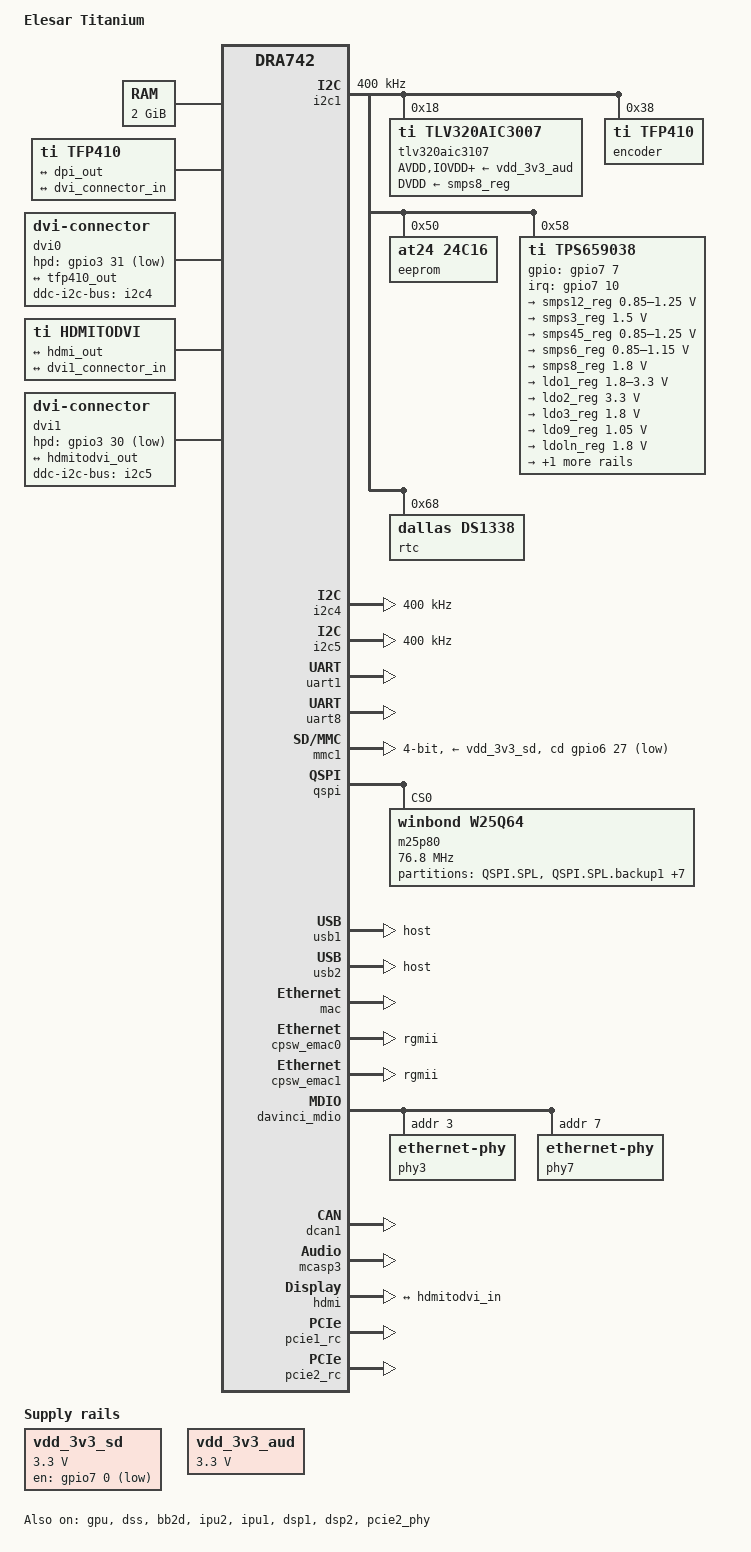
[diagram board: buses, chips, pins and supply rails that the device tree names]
/*
 * Copyright (C) 2015 Elesar Ltd. - http://www.elesar.co.uk/
 *
 * This program is free software; you can redistribute it and/or modify
 * it under the terms of the GNU General Public License version 2 as
 * published by the Free Software Foundation.
 */
/dts-v1/;

#include "dra74x.dtsi"
#include "dra74x-mmc-iodelay.dtsi"
#include "dra74-ipu-dsp-common.dtsi"

#include <dt-bindings/gpio/gpio.h>
#include <dt-bindings/interrupt-controller/irq.h>

/ {
	model = "Elesar Titanium";
	compatible = "elesar,titanium", "ti,am5728", "ti,dra742", "ti,dra74", "ti,dra7";

	aliases {
		display0 = &dvi0;
		display1 = &dvi1;
		sound0 = &sound0;
		sound1 = &hdmi;
	};

	memory@0 {
		device_type = "memory";
		reg = <0x0 0x80000000 0x0 0x80000000>; /* 2048 MB */
	};

	reserved-memory {
		#address-cells = <2>;
		#size-cells = <2>;
		ranges;

		ipu2_memory_region: ipu2-memory@95800000 {
			compatible = "shared-dma-pool";
			reg = <0x0 0x95800000 0x0 0x3800000>;
			reusable;
			status = "okay";
		};

		dsp1_memory_region: dsp1-memory@99000000 {
			compatible = "shared-dma-pool";
			reg = <0x0 0x99000000 0x0 0x4000000>;
			reusable;
			status = "okay";
		};

		ipu1_memory_region: ipu1-memory@9d000000 {
			compatible = "shared-dma-pool";
			reg = <0x0 0x9d000000 0x0 0x2000000>;
			reusable;
			status = "okay";
		};

		dsp2_memory_region: dsp2-memory@9f000000 {
			compatible = "shared-dma-pool";
			reg = <0x0 0x9f000000 0x0 0x800000>;
			reusable;
			status = "okay";
		};
	};

	ocp {
		axi@1 {
			status = "okay";
		};
	};

	vdd_3v3_sd: fixedregulator-sd {
		compatible = "regulator-fixed";
		regulator-name = "vdd_3v3_sd";
		regulator-min-microvolt = <3300000>;
		regulator-max-microvolt = <3300000>;
		gpio = <&gpio7 0 GPIO_ACTIVE_LOW>;
	};

	vdd_3v3_aud: fixedregulator-sd {
		compatible = "regulator-fixed";
		regulator-name = "vdd_3v3_aud";
		regulator-min-microvolt = <3300000>;
		regulator-max-microvolt = <3300000>;
	};

	tfp410: encoder@0 {
		compatible = "ti,tfp410";

		ports {
			#address-cells = <1>;
			#size-cells = <0>;

			port@0 {
				reg = <0>;

				tfp410_in: endpoint@0 {
					remote-endpoint = <&dpi_out>;
				};
			};

			port@1 {
				reg = <1>;

				tfp410_out: endpoint@0 {
					remote-endpoint = <&dvi_connector_in>;
				};
			};
		};
	};

	dvi0: connector@0 {
		compatible = "dvi-connector";
		label = "dvi0";

		digital;

		ddc-i2c-bus = <&i2c4>;
		hpd-gpios = <&gpio3 31 GPIO_ACTIVE_LOW>;

		port {
			dvi_connector_in: endpoint {
				remote-endpoint = <&tfp410_out>;
			};
		};
	};

	hdmitodvi: encoder@1 {
		compatible = "ti,hdmitodvi";

		ports {
			#address-cells = <1>;
			#size-cells = <0>;

			port@0 {
				reg = <0>;

				hdmitodvi_in: endpoint@0 {
					remote-endpoint = <&hdmi_out>;
				};
			};

			port@1 {
				reg = <1>;

				hdmitodvi_out: endpoint@0 {
					remote-endpoint = <&dvi1_connector_in>;
				};
			};
		};
	};

	dvi1: connector@1 {
		compatible = "dvi-connector";
		label = "dvi1";

		digital;

		ddc-i2c-bus = <&i2c5>;
		hpd-gpios = <&gpio3 30 GPIO_ACTIVE_LOW>;

		port {
			dvi1_connector_in: endpoint {
				remote-endpoint = <&hdmitodvi_out>;
			};
		};
	};

	sound0: sound0 {
		compatible = "simple-audio-card";
		simple-audio-card,name = "Titanium";
		simple-audio-card,widgets =
			"Headphone", "Headphone Jack",
			"Speaker", "Speaker",
			"Microphone", "Mic Jack",
			"Line", "Line In",
			"Line", "Aux In";
		simple-audio-card,routing =
			"Headphone Jack",	"HPLOUT",
			"Headphone Jack",	"HPROUT",
			"Speaker",		"SPOP",
			"Speaker",		"SPOM",
			"SPOP",			"LLOUT",
			"SPOM",			"RLOUT",
			"MIC3L",		"Mic Jack",
			"MIC3R",		"Mic Jack",
			"Mic Jack",		"Mic Bias",
			"LINE2L",		"Line In",
			"LINE2R",		"Line In",
			"LINE1L",		"Aux In",
			"LINE1R",		"Aux In";
		simple-audio-card,format = "dsp_b";
		simple-audio-card,bitclock-master = <&sound0_master>;
		simple-audio-card,frame-master = <&sound0_master>;
		simple-audio-card,bitclock-inversion;

		simple-audio-card,cpu {
			sound-dai = <&mcasp3>;
			clocks = <&mcasp3_aux_gfclk_mux>;
			system-clock-direction-out;
		};

		sound0_master: simple-audio-card,codec {
			sound-dai = <&tlv320aic3107>;
			clocks = <&mcasp3_aux_gfclk_mux>;
		};
	};
};

&dra7_pmx_core {
	dcan1_pins_default: dcan1_pins_default {
		pinctrl-single,pins = <
			DRA7XX_CORE_IOPAD(0x37d0, MUX_MODE0 | PIN_OUTPUT_PULLUP)	/* dcan1_tx.dcan1_tx (DCAN1_TX) */
			DRA7XX_CORE_IOPAD(0x37d4, MUX_MODE0 | PULL_UP)			/* dcan1_rx.dcan1_rx (DCAN1_RX) */
		>;
	};

	dcan1_pins_sleep: dcan1_pins_sleep {
		pinctrl-single,pins = <
			DRA7XX_CORE_IOPAD(0x37d0, MUX_MODE15 | PULL_UP)	/* dcan1_tx.off (DCAN1_TX) */
			DRA7XX_CORE_IOPAD(0x37d4, MUX_MODE15 | PULL_UP)	/* dcan1_rx.off (DCAN1_RX) */
		>;
	};
};

&i2c1 {
	status = "okay";
	clock-frequency = <400000>;

	tlv320aic3107: codec@18 {
		#sound-dai-cells = <0>;
		compatible = "ti,tlv320aic3007";
		reg = <0x18>;
		status = "okay";

		adc-settle-ms = <40>;
		ai3x-micbias-vg = <1>;	/* 2.0V */

		/* Regulators */
		AVDD-supply = <&vdd_3v3_aud>;
		IOVDD-supply = <&vdd_3v3_aud>;
		DRVDD-supply = <&vdd_3v3_aud>;
		DVDD-supply = <&smps8_reg>;
	};

	encoder@38 {
		compatible = "ti,tfp410";
		reg = <0x38>;
	};

	eeprom@50 {
		compatible = "at24,24c16";
		reg = <0x50>;
		pagesize = <16>;
	};

	tps659038: tps659038@58 {
		compatible = "ti,tps659038", "elesar,softoff";
		reg = <0x58>;
		ti,palmas-override-powerhold;
		ti,system-power-controller;

		/*
		 * The interrupt line is connected to gpio7_10, but interrupts
		 * are not used.
		 */
		interrupt-parent = <&gpio7>;
		interrupts = <10 IRQ_TYPE_NONE>;

		/* Soft power-off line */
		gpios = <&gpio7 7 GPIO_ACTIVE_HIGH>;

		tps659038_pmic {
			compatible = "ti,tps659038-pmic";

			regulators {
				smps12_reg: smps12 {
					/* VDD_MPU */
					regulator-name = "smps12";
					regulator-min-microvolt = < 850000>;
					regulator-max-microvolt = <1250000>;
					regulator-always-on;
					regulator-boot-on;
				};

				smps3_reg: smps3 {
					/* VDD_DDR */
					regulator-name = "smps3";
					regulator-min-microvolt = <1500000>;
					regulator-max-microvolt = <1500000>;
					regulator-always-on;
					regulator-boot-on;
				};

				smps45_reg: smps45 {
					/* VDD_DSPEVE, VDD_GPU, VDD_IVA */
					regulator-name = "smps45";
					regulator-min-microvolt = < 850000>;
					regulator-max-microvolt = <1250000>;
					regulator-always-on;
					regulator-boot-on;
				};

				smps6_reg: smps6 {
					/* VDD_CORE */
					regulator-name = "smps6";
					regulator-min-microvolt = <850000>;
					regulator-max-microvolt = <1150000>;
					regulator-always-on;
					regulator-boot-on;
				};

				/* SMPS7 unused */

				smps8_reg: smps8 {
					/* VDDS1V8 */
					regulator-name = "smps8";
					regulator-min-microvolt = <1800000>;
					regulator-max-microvolt = <1800000>;
					regulator-always-on;
					regulator-boot-on;
				};

				/* SMPS9 unused */

				ldo1_reg: ldo1 {
					/* LDO1_OUT --> SDIO  */
					regulator-name = "ldo1";
					regulator-min-microvolt = <1800000>;
					regulator-max-microvolt = <3300000>;
					regulator-boot-on;
				};

				ldo2_reg: ldo2 {
					/* Unused */
					regulator-name = "ldo2";
					regulator-min-microvolt = <3300000>;
					regulator-max-microvolt = <3300000>;
					regulator-boot-on;
				};

				ldo3_reg: ldo3 {
					/* VDDA_1V8_PHY */
					regulator-name = "ldo3";
					regulator-min-microvolt = <1800000>;
					regulator-max-microvolt = <1800000>;
					regulator-always-on;
					regulator-boot-on;
				};

				ldo9_reg: ldo9 {
					/* Unused */
					regulator-name = "ldo9";
					regulator-min-microvolt = <1050000>;
					regulator-max-microvolt = <1050000>;
					regulator-boot-on;
					regulator-allow-bypass;
				};

				ldoln_reg: ldoln {
					/* VDDA_1V8_PLL */
					regulator-name = "ldoln";
					regulator-min-microvolt = <1800000>;
					regulator-max-microvolt = <1800000>;
					regulator-always-on;
					regulator-boot-on;
				};

				ldousb_reg: ldousb {
					/* VDDA_3V_USB: VDDA_USBHS33 */
					regulator-name = "ldousb";
					regulator-min-microvolt = <3300000>;
					regulator-max-microvolt = <3300000>;
					regulator-boot-on;
				};
			};
		};
	};

	rtc@68 {
		compatible = "dallas,ds1338";
		reg = <0x68>;
	};
};

&i2c4 {
	status = "okay";
	clock-frequency = <400000>;
};

&i2c5 {
	status = "okay";
	clock-frequency = <400000>;
};

&uart1 {
	status = "okay";

	interrupts-extended = <&crossbar_mpu GIC_SPI 67 IRQ_TYPE_LEVEL_HIGH>,
			      <&dra7_pmx_core 0x3e0>;
};

&uart8 {
	status = "okay";
};

&mmc1 {
	status = "okay";

	vmmc-supply = <&vdd_3v3_sd>;
	vqmmc-supply = <&ldo1_reg>;
	bus-width = <4>;
	cd-gpios = <&gpio6 27 GPIO_ACTIVE_LOW>;
	/*
	 * By default only enable Default Speed and High Speed. The other
	 * modes can potentially be used by uncommenting the lines below, but
	 * note that the SD-card activity LED will not operate correctly when
	 * 1.8V signalling is used.
	 */
	pinctrl-names = "default", "hs" /*, "sdr12", "sdr25", "sdr50", "ddr50-rev11", "sdr104-rev11", "ddr50", "sdr104" */;
	pinctrl-0 = <&mmc1_pins_default>;
	pinctrl-1 = <&mmc1_pins_hs>;
	/*
	pinctrl-2 = <&mmc1_pins_sdr12>;
	pinctrl-3 = <&mmc1_pins_sdr25>;
	pinctrl-4 = <&mmc1_pins_sdr50>;
	pinctrl-5 = <&mmc1_pins_ddr50 &mmc1_iodelay_ddr_rev11_conf>;
	pinctrl-6 = <&mmc1_pins_sdr104 &mmc1_iodelay_sdr104_rev11_conf>;
	pinctrl-7 = <&mmc1_pins_ddr50 &mmc1_iodelay_ddr_rev20_conf>;
	pinctrl-8 = <&mmc1_pins_sdr104 &mmc1_iodelay_sdr104_rev20_conf>;
	*/
};

&cpu0 {
	vdd-supply = <&smps12_reg>;
	voltage-tolerance = <1>;
};

&qspi {
	status = "okay";

	spi-max-frequency = <76800000>;
	m25p80@0 {
		compatible = "winbond,w25q64";
		spi-max-frequency = <76800000>;
		reg = <0>;
		spi-tx-bus-width = <1>;
		spi-rx-bus-width = <4>;
		#address-cells = <1>;
		#size-cells = <1>;

		/* MTD partition table.
		 * The ROM checks the first four physical blocks
		 * for a valid file to boot and the flash here is
		 * 64KiB block size.
		 */
		partition@0 {
			label = "QSPI.SPL";
			reg = <0x00000000 0x000010000>;
		};
		partition@1 {
			label = "QSPI.SPL.backup1";
			reg = <0x00010000 0x00010000>;
		};
		partition@2 {
			label = "QSPI.SPL.backup2";
			reg = <0x00020000 0x00010000>;
		};
		partition@3 {
			label = "QSPI.SPL.backup3";
			reg = <0x00030000 0x00010000>;
		};
		partition@4 {
			label = "QSPI.u-boot";
			reg = <0x00040000 0x00100000>;
		};
		partition@5 {
			label = "QSPI.u-boot-spl-os";
			reg = <0x00140000 0x00080000>;
		};
		partition@6 {
			label = "QSPI.u-boot-env";
			reg = <0x001c0000 0x00010000>;
		};
		partition@7 {
			label = "QSPI.u-boot-env.backup1";
			reg = <0x001d0000 0x0010000>;
		};
		partition@8 {
			label = "QSPI.data";
			reg = <0x001e0000 0x0620000>;
		};
	};
};

&usb2_phy1 {
	phy-supply = <&ldousb_reg>;
};

&usb2_phy2 {
	phy-supply = <&ldousb_reg>;
};

&usb1 {
	dr_mode = "host";
};

&usb2 {
	dr_mode = "host";
};

&gpio7 {
	ti,no-reset-on-init;
	ti,no-idle-on-init;
};

&mac {
	status = "okay";
	dual_emac;
};

&cpsw_emac0 {
	phy_id = <&davinci_mdio>, <7>;
	phy-mode = "rgmii";
	dual_emac_res_vlan = <1>;
};

&cpsw_emac1 {
	phy_id = <&davinci_mdio>, <3>;
	phy-mode = "rgmii";
	dual_emac_res_vlan = <2>;
};

&davinci_mdio {
	phy3: ethernet-phy@3 {
		reg = <3>;
	};

	phy7: ethernet-phy@7 {
		reg = <7>;
	};
};

&dcan1 {
	status = "okay";
	pinctrl-names = "default", "sleep", "active";
	pinctrl-0 = <&dcan1_pins_sleep>;
	pinctrl-1 = <&dcan1_pins_sleep>;
	pinctrl-2 = <&dcan1_pins_default>;
};

&mcasp3 {
	#sound-dai-cells = <0>;

	status = "okay";

	op-mode = <0>;	/* MCASP_IIS_MODE */
	tdm-slots = <2>;

	/* 4 serializers */
	serial-dir = <	/* 0: INACTIVE, 1: TX, 2: RX */
		1 2 0 0
	>;
	tx-num-evt = <32>;
	rx-num-evt = <32>;
};

&gpu {
	status = "okay";
};

&dss {
	status = "okay";

	vdda_video-supply = <&ldoln_reg>;

	port {
		dpi_out: endpoint {
			remote-endpoint = <&tfp410_in>;
			data-lines = <24>;
		};
	};
};

&bb2d {
	status = "okay";
};

&hdmi {
	status = "okay";

	vdda-supply = <&ldo3_reg>;

	port {
		hdmi_out: endpoint {
			remote-endpoint = <&hdmitodvi_in>;
		};
	};
};

&mmu0_dsp1 {
	status = "okay";
};

&mmu1_dsp1 {
	status = "okay";
};

&mmu0_dsp2 {
	status = "okay";
};

&mmu1_dsp2 {
	status = "okay";
};

&mmu_ipu1 {
	status = "okay";
};

&mmu_ipu2 {
	status = "okay";
};

&ipu2 {
	status = "okay";
	memory-region = <&ipu2_memory_region>;
};

&ipu1 {
	status = "okay";
	memory-region = <&ipu1_memory_region>;
};

&dsp1 {
	status = "okay";
	memory-region = <&dsp1_memory_region>;
};

&dsp2 {
	status = "okay";
	memory-region = <&dsp2_memory_region>;
};

&rtc {
	status = "disabled";
};

&pcie1_rc {
	status = "okay";
};

&pcie2_phy {
	status = "okay";
};

&pcie2_rc {
	status = "okay";
};
